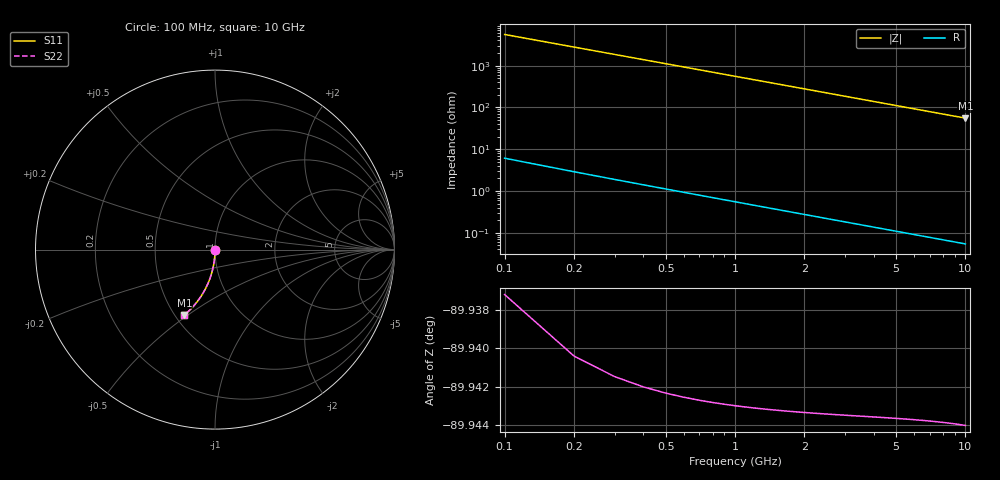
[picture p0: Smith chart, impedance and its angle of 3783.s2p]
# Hz S RI R 50.00
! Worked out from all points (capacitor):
!   100 points, 100 MHz to 10 GHz, reference 50 ohm
!   read as one part in shunt: C = 286 fF near 100 MHz
!   lowest |Z| = 55.5 ohm at 10 GHz (marker M1)
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1e8  2.82e-07 -0.00438  0.9999 -0.0046  0.9999 -0.0046  2.82e-07 -0.00438
2e8  -6.44e-05 -0.00875  0.9999 -0.0092  0.9999 -0.0092  -6.44e-05 -0.00875
3e8  -0.000169 -0.0131  0.9998 -0.0138  0.9998 -0.0138  -0.000169 -0.0131
4e8  -0.000315 -0.0175  0.9996 -0.0184  0.9996 -0.0184  -0.000315 -0.0175
5e8  -0.0005 -0.0219  0.9994 -0.023  0.9994 -0.023  -0.0005 -0.0219
6e8  -0.000726 -0.0262  0.9992 -0.0276  0.9992 -0.0276  -0.000726 -0.0262
7e8  -0.000991 -0.0306  0.999 -0.0322  0.999 -0.0322  -0.000991 -0.0306
8e8  -0.0013 -0.035  0.9986 -0.0368  0.9986 -0.0368  -0.0013 -0.035
9e8  -0.00164 -0.0393  0.9983 -0.0414  0.9983 -0.0414  -0.00164 -0.0393
1.1e9  -0.00246 -0.048  0.9975 -0.0505  0.9975 -0.0505  -0.00246 -0.048
1.4e9  -0.00397 -0.0611  0.996 -0.0642  0.996 -0.0642  -0.00397 -0.0611
1.8e9  -0.00655 -0.0783  0.9934 -0.0824  0.9934 -0.0824  -0.00655 -0.0783
2.1e9  -0.00889 -0.0912  0.991 -0.0959  0.991 -0.0959  -0.00889 -0.0912
2.5e9  -0.0125 -0.1081  0.9874 -0.1138  0.9874 -0.1138  -0.0125 -0.1081
2.9e9  -0.0168 -0.1249  0.9831 -0.1315  0.9831 -0.1315  -0.0168 -0.1249
3.4e9  -0.023 -0.1456  0.9769 -0.1533  0.9769 -0.1533  -0.023 -0.1456
4.2e9  -0.0347 -0.1778  0.9652 -0.1873  0.9652 -0.1873  -0.0347 -0.1778
5.1e9  -0.0503 -0.2124  0.9496 -0.224  0.9496 -0.224  -0.0503 -0.2124
5.9e9  -0.0663 -0.2416  0.9336 -0.2551  0.9336 -0.2551  -0.0663 -0.2416
6.7e9  -0.0839 -0.2692  0.9159 -0.2846  0.9159 -0.2846  -0.0839 -0.2692
8.4e9  -0.1261 -0.3219  0.8736 -0.3413  0.8736 -0.3413  -0.1261 -0.3219
1e10  -0.1701 -0.3638  0.8296 -0.3869  0.8296 -0.3869  -0.1701 -0.3638
